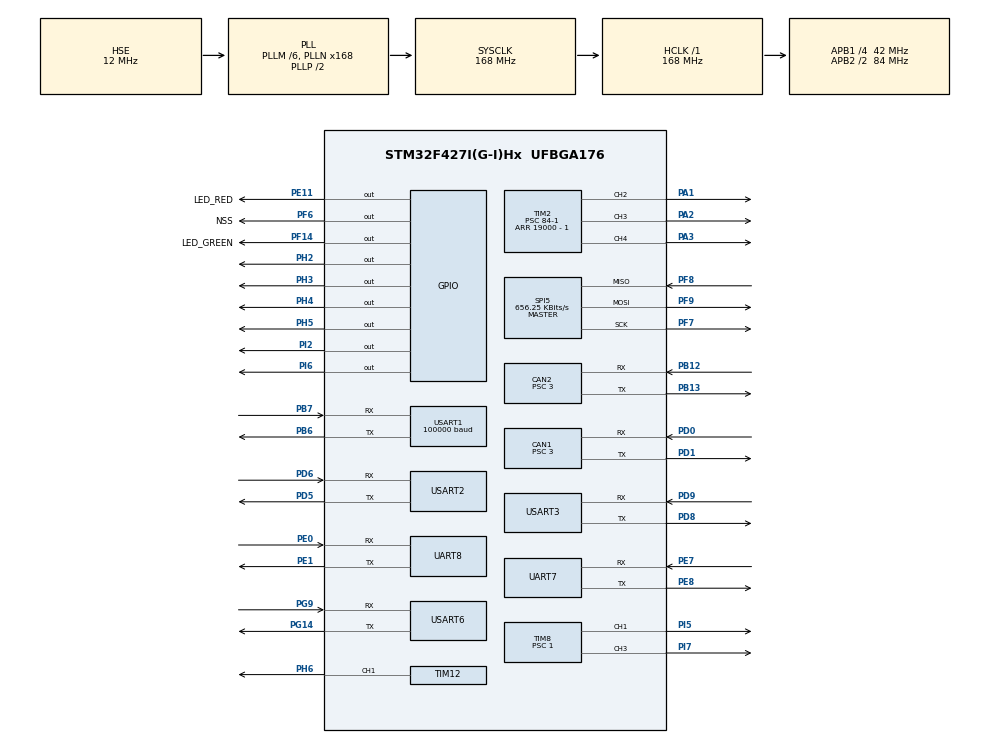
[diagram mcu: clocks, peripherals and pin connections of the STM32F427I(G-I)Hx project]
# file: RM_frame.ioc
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CAN1.BS1=CAN_BS1_9TQ
CAN1.BS2=CAN_BS2_4TQ
CAN1.CalculateTimeBit=1000
CAN1.CalculateTimeQuantum=71.42857142857143
CAN1.Prescaler=3
CAN2.BS1=CAN_BS1_9TQ
CAN2.BS2=CAN_BS2_4TQ
CAN2.CalculateTimeBit=1000
CAN2.CalculateTimeQuantum=71.42857142857143
CAN2.Prescaler=3
Dma.Request0=USART1_RX
Dma.USART1_RX.0.Direction=DMA_PERIPH_TO_MEMORY
Dma.USART1_RX.0.FIFOMode=DMA_FIFOMODE_DISABLE
Dma.USART1_RX.0.Instance=DMA2_Stream2
Dma.USART1_RX.0.MemDataAlignment=DMA_MDATAALIGN_BYTE
Dma.USART1_RX.0.MemInc=DMA_MINC_ENABLE
Dma.USART1_RX.0.Mode=DMA_NORMAL
Dma.USART1_RX.0.PeriphDataAlignment=DMA_PDATAALIGN_BYTE
Dma.USART1_RX.0.PeriphInc=DMA_PINC_DISABLE
Dma.USART1_RX.0.Priority=DMA_PRIORITY_LOW
IWDG.Prescaler=IWDG_PRESCALER_32
IWDG.Reload=300
Mcu.Family=STM32F4
Mcu.Name=STM32F427I(G-I)Hx
Mcu.Package=UFBGA176
NVIC.CAN1_RX0_IRQn=true\:0\:0\:true\:false\:true\:true\:true
NVIC.CAN1_TX_IRQn=true\:0\:0\:true\:false\:true\:true\:true
NVIC.CAN2_RX0_IRQn=true\:1\:0\:true\:false\:true\:true\:true
NVIC.CAN2_TX_IRQn=true\:2\:0\:true\:false\:true\:true\:true
NVIC.DMA2_Stream2_IRQn=true\:0\:0\:false\:false\:true\:false\:true
NVIC.PriorityGroup=NVIC_PRIORITYGROUP_4
NVIC.TIM1_UP_TIM10_IRQn=true\:4\:0\:true\:false\:true\:true\:true
NVIC.TIM6_DAC_IRQn=true\:3\:0\:true\:false\:true\:true\:true
NVIC.TIM7_IRQn=true\:0\:0\:true\:false\:true\:true\:true
NVIC.UART7_IRQn=true\:0\:0\:false\:false\:true\:true\:true
NVIC.UART8_IRQn=true\:0\:0\:false\:false\:true\:true\:true
NVIC.USART1_IRQn=true\:0\:0\:true\:false\:true\:true\:true
NVIC.USART2_IRQn=true\:1\:0\:true\:false\:true\:true\:true
NVIC.USART3_IRQn=true\:1\:0\:true\:false\:true\:true\:true
NVIC.USART6_IRQn=true\:1\:0\:true\:false\:true\:true\:true
PA1.Signal=S_TIM2_CH2
PA2.Signal=S_TIM2_CH3
PA3.Signal=S_TIM2_CH4
PB12.Mode=Slave
PB12.Signal=CAN2_RX
PB13.Mode=Slave
PB13.Signal=CAN2_TX
PB6.Mode=Asynchronous
PB6.Signal=USART1_TX
PB7.Mode=Asynchronous
PB7.Signal=USART1_RX
PD0.Mode=Master
PD0.Signal=CAN1_RX
PD1.Mode=Master
PD1.Signal=CAN1_TX
PD5.Mode=Asynchronous
PD5.Signal=USART2_TX
PD6.Mode=Asynchronous
PD6.Signal=USART2_RX
PD8.Mode=Asynchronous
PD8.Signal=USART3_TX
PD9.Mode=Asynchronous
PD9.Signal=USART3_RX
PE0.Mode=Asynchronous
PE0.Signal=UART8_RX
PE1.Mode=Asynchronous
PE1.Signal=UART8_TX
PE11.GPIO_Label=LED_RED
PE11.Signal=GPIO_Output
PE7.Mode=Asynchronous
PE7.Signal=UART7_RX
PE8.Mode=Asynchronous
PE8.Signal=UART7_TX
PF14.GPIO_Label=LED_GREEN
PF14.Signal=GPIO_Output
PF6.GPIO_Label=NSS
PF6.Signal=GPIO_Output
PF7.Mode=Full_Duplex_Master
PF7.Signal=SPI5_SCK
PF8.Mode=Full_Duplex_Master
PF8.Signal=SPI5_MISO
PF9.Mode=Full_Duplex_Master
PF9.Signal=SPI5_MOSI
PG14.Mode=Asynchronous
PG14.Signal=USART6_TX
PG9.Mode=Asynchronous
PG9.Signal=USART6_RX
PH0/OSC_IN.Mode=HSE-External-Oscillator
PH0/OSC_IN.Signal=RCC_OSC_IN
PH1/OSC_OUT.Mode=HSE-External-Oscillator
PH1/OSC_OUT.Signal=RCC_OSC_OUT
PH2.Signal=GPIO_Output
PH3.Signal=GPIO_Output
PH4.Signal=GPIO_Output
PH5.Signal=GPIO_Output
PH6.Signal=S_TIM12_CH1
PI2.Signal=GPIO_Output
PI5.Signal=S_TIM8_CH1
PI6.Signal=GPIO_Output
PI7.Signal=S_TIM8_CH3
ProjectManager.HeapSize=0x200
ProjectManager.StackSize=0x400
ProjectManager.TargetToolchain=MDK-ARM V5
RCC.48MHZClocksFreq_Value=84000000
RCC.AHBFreq_Value=168000000
RCC.APB1CLKDivider=RCC_HCLK_DIV4
RCC.APB1Freq_Value=42000000
RCC.APB1TimFreq_Value=84000000
RCC.APB2CLKDivider=RCC_HCLK_DIV2
RCC.APB2Freq_Value=84000000
RCC.APB2TimFreq_Value=168000000
RCC.CortexFreq_Value=168000000
RCC.HCLKFreq_Value=168000000
RCC.HSE_VALUE=12000000
RCC.HSI_VALUE=16000000
RCC.LSE_VALUE=32768
RCC.PLLM=6
RCC.PLLN=168
RCC.PLLSourceVirtual=RCC_PLLSOURCE_HSE
RCC.SYSCLKFreq_VALUE=168000000
RCC.SYSCLKSource=RCC_SYSCLKSOURCE_PLLCLK
RCC.VCOOutputFreq_Value=336000000
SH.S_TIM12_CH1.0=TIM12_CH1,PWM Generation1 CH1
SH.S_TIM2_CH2.0=TIM2_CH2,PWM Generation2 CH2
SH.S_TIM2_CH3.0=TIM2_CH3,PWM Generation3 CH3
SH.S_TIM2_CH4.0=TIM2_CH4,PWM Generation4 CH4
SH.S_TIM8_CH1.0=TIM8_CH1,PWM Generation1 CH1
SH.S_TIM8_CH3.0=TIM8_CH3,PWM Generation3 CH3
SPI5.BaudRatePrescaler=SPI_BAUDRATEPRESCALER_128
SPI5.CalculateBaudRate=656.25 KBits/s
SPI5.Direction=SPI_DIRECTION_2LINES
SPI5.Mode=SPI_MODE_MASTER
SPI5.VirtualType=VM_MASTER
TIM10.Period=10000
TIM10.Prescaler=168-1
TIM12.Channel-PWM\ Generation1\ CH1=TIM_CHANNEL_1
TIM12.Period=2500-1
TIM12.Prescaler=84-1
TIM12.Pulse-PWM\ Generation1\ CH1=1000
TIM2.Channel-PWM\ Generation2\ CH2=TIM_CHANNEL_2
TIM2.Channel-PWM\ Generation3\ CH3=TIM_CHANNEL_3
TIM2.Channel-PWM\ Generation4\ CH4=TIM_CHANNEL_4
TIM2.Period=19000 - 1
TIM2.Prescaler=84-1
TIM6.Period=1000
TIM6.Prescaler=84-1
TIM7.Period=1000
TIM7.Prescaler=84-1
TIM8.Channel-PWM\ Generation1\ CH1=TIM_CHANNEL_1
TIM8.Channel-PWM\ Generation3\ CH3=TIM_CHANNEL_3
TIM8.Period=5250
TIM8.Prescaler=1
UART7.VirtualMode=Asynchronous
UART8.VirtualMode=Asynchronous
USART1.BaudRate=100000
USART1.Mode=MODE_RX
USART1.Parity=PARITY_EVEN
USART1.VirtualMode=VM_ASYNC
USART1.WordLength=WORDLENGTH_9B
USART2.VirtualMode=VM_ASYNC
USART3.VirtualMode=VM_ASYNC
USART6.VirtualMode=VM_ASYNC
VP_IWDG_VS_IWDG.Mode=IWDG_Activate
VP_TIM10_VS_ClockSourceINT.Mode=Enable_Timer
VP_TIM12_VS_ClockSourceINT.Mode=Internal
VP_TIM2_VS_ClockSourceINT.Mode=Internal
VP_TIM6_VS_ClockSourceINT.Mode=Enable_Timer
VP_TIM7_VS_ClockSourceINT.Mode=Enable_Timer
board=RM_frame

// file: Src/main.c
/**
  ******************************************************************************
  * File Name          : main.c
  * Description        : Main program body
  ******************************************************************************
  ** This notice applies to any and all portions of this file
  * that are not between comment pairs USER CODE BEGIN and
  * USER CODE END. Other portions of this file, whether
  * inserted by the user or by software development tools
  * are owned by their respective copyright owners.
  *
  * COPYRIGHT(c) 2020 STMicroelectronics
  *
  * Redistribution and use in source and binary forms, with or without modification,
  * are permitted provided that the following conditions are met:
  *   1. Redistributions of source code must retain the above copyright notice,
  *      this list of conditions and the following disclaimer.
  *   2. Redistributions in binary form must reproduce the above copyright notice,
  *      this list of conditions and the following disclaimer in the documentation
  *      and/or other materials provided with the distribution.
  *   3. Neither the name of STMicroelectronics nor the names of its contributors
  *      may be used to endorse or promote products derived from this software
  *      without specific prior written permission.
  *
  * THIS SOFTWARE IS PROVIDED BY THE COPYRIGHT HOLDERS AND CONTRIBUTORS "AS IS"
  * AND ANY EXPRESS OR IMPLIED WARRANTIES, INCLUDING, BUT NOT LIMITED TO, THE
  * IMPLIED WARRANTIES OF MERCHANTABILITY AND FITNESS FOR A PARTICULAR PURPOSE ARE
  * DISCLAIMED. IN NO EVENT SHALL THE COPYRIGHT HOLDER OR CONTRIBUTORS BE LIABLE
  * FOR ANY DIRECT, INDIRECT, INCIDENTAL, SPECIAL, EXEMPLARY, OR CONSEQUENTIAL
  * DAMAGES (INCLUDING, BUT NOT LIMITED TO, PROCUREMENT OF SUBSTITUTE GOODS OR
  * SERVICES; LOSS OF USE, DATA, OR PROFITS; OR BUSINESS INTERRUPTION) HOWEVER
  * CAUSED AND ON ANY THEORY OF LIABILITY, WHETHER IN CONTRACT, STRICT LIABILITY,
  * OR TORT (INCLUDING NEGLIGENCE OR OTHERWISE) ARISING IN ANY WAY OUT OF THE USE
  * OF THIS SOFTWARE, EVEN IF ADVISED OF THE POSSIBILITY OF SUCH DAMAGE.
  *
  ******************************************************************************
  */

#include "main.h"
#include "stm32f4xx_hal.h"
#include "can.h"
#include "dma.h"
#include "iwdg.h"
#include "spi.h"
#include "tim.h"
#include "usart.h"
#include "gpio.h"

/* USER CODE BEGIN Includes */
#include "includes.h"
#include <stdlib.h>
/* USER CODE END Includes */

/* USER CODE BEGIN PV */
uint32_t ADC_Value[160];
/* Private variables ---------------------------------------------------------*/
UART_HandleTypeDef *uartlist[4] = {&huart3, &huart6, &huart7, &huart8};
uint8_t ch0 = (uint8_t)'0';
uint8_t ch1 = (uint8_t)'1';
uint8_t ch2 = (uint8_t)'2';
uint8_t rec;
int isFailed = 0, isWaiting = 0, hasReceived = 0, current, counter = 1250;
int randlist[4];

/* USER CODE END PV */

void SystemClock_Config(void);

/* USER CODE BEGIN PFP */
/* Private function prototypes -----------------------------------------------*/

/* USER CODE END PFP */

int main(void)
{

  /* MCU Configuration----------------------------------------------------------*/

  /* Reset of all peripherals, Initializes the Flash interface and the Systick. */
  HAL_Init();

  /* Configure the system clock */
  SystemClock_Config();

  /* USER CODE BEGIN SysInit */
	HAL_NVIC_DisableIRQ(USART2_IRQn);
	HAL_NVIC_DisableIRQ(USART3_IRQn);
	HAL_NVIC_DisableIRQ(USART6_IRQn);
	HAL_NVIC_DisableIRQ(DMA1_Stream1_IRQn);
	HAL_NVIC_DisableIRQ(DMA1_Stream5_IRQn);
	HAL_NVIC_DisableIRQ(DMA2_Stream1_IRQn);

	HAL_NVIC_DisableIRQ(CAN1_RX0_IRQn);
	HAL_NVIC_DisableIRQ(CAN2_RX0_IRQn);
	HAL_NVIC_DisableIRQ(USART1_IRQn);
	HAL_NVIC_DisableIRQ(DMA2_Stream2_IRQn);
	HAL_NVIC_DisableIRQ(TIM7_IRQn);
	HAL_NVIC_DisableIRQ(TIM6_DAC_IRQn);
	#ifdef DEBUG_MODE
		HAL_NVIC_DisableIRQ(TIM1_UP_TIM10_IRQn);
	#endif
  /* USER CODE END SysInit */

  /* Initialize all configured peripherals */
  MX_GPIO_Init();
  MX_DMA_Init();
  MX_CAN1_Init();
  MX_CAN2_Init();
  MX_SPI5_Init();
  MX_USART1_UART_Init();
  MX_TIM6_Init();
  MX_TIM12_Init();
  MX_USART2_UART_Init();
  MX_USART3_UART_Init();
  MX_USART6_UART_Init();
  MX_TIM7_Init();
  MX_TIM10_Init();
  MX_TIM2_Init();
  MX_IWDG_Init();
  MX_TIM8_Init();
  MX_UART7_Init();
  MX_UART8_Init();

  /* USER CODE BEGIN 2 */
	//各模块初始化
	InitRemoteControl();
	InitMPU6500();
	Motor_ID_Setting();
	for(int i=0;i<8;i++) {InitMotor(can1[i]);InitMotor(can2[i]);}
	//InitPWM();
	InitCanReception();
	HAL_GPIO_WritePin(GPIOH,GPIO_PIN_2,GPIO_PIN_SET);
	HAL_GPIO_WritePin(GPIOH,GPIO_PIN_3,GPIO_PIN_SET);
	HAL_GPIO_WritePin(GPIOH,GPIO_PIN_4,GPIO_PIN_SET);
	HAL_GPIO_WritePin(GPIOH,GPIO_PIN_5,GPIO_PIN_SET);

	#ifdef DEBUG_MODE
	ctrlUartInit();
	//时间中断
	HAL_TIM_Base_Start_IT(&htim10);
	#endif
	HAL_TIM_Base_Start_IT(&htim6);
	HAL_TIM_Base_Start_IT(&htim7);
	HAL_TIM_PWM_Start(&htim2, TIM_CHANNEL_3);
	HAL_TIM_PWM_Start(&htim2, TIM_CHANNEL_4);

	//ADC
	//HAL_ADC_Start_DMA(&hadc1,(uint32_t*)&ADC_Value,160);

	//其他中断
	HAL_NVIC_EnableIRQ(CAN1_RX0_IRQn);
	HAL_NVIC_EnableIRQ(CAN2_RX0_IRQn);
	HAL_NVIC_EnableIRQ(USART1_IRQn);
	HAL_NVIC_EnableIRQ(DMA2_Stream2_IRQn);
	HAL_NVIC_EnableIRQ(TIM6_DAC_IRQn);
	HAL_NVIC_EnableIRQ(TIM7_IRQn);
	#ifdef DEBUG_MODE
		HAL_NVIC_EnableIRQ(TIM1_UP_TIM10_IRQn);
	#endif

	for(current = 0;current < uart_num;current++) HAL_UART_Receive_IT(uartlist[current], &rec, sizeof(rec));
	for(current = 0;current < uart_num;current++) while(HAL_OK != HAL_UART_Transmit_IT(uartlist[current], &ch0 ,sizeof(ch0)));

  /* USER CODE END 2 */

  /* Infinite loop */
  while (1)
  {

  /* USER CODE BEGIN 3 */
//	listgen(randlist);
  	for(current = 0; (current < uart_num) && !isFailed; ++current)
  	{
  		isFailed = isWaiting = hasReceived = rec = 0;
	  	while(HAL_OK != HAL_UART_Transmit_IT(uartlist[current], &ch1, sizeof(ch1)));
		  isWaiting = 1;
/*		counter = 1250;
		  htim6.Instance->CNT = 0;*/

		  while(!isFailed && !hasReceived);
		  isWaiting = 0;

		  if(isFailed)
		  {
			  HAL_UART_Transmit_IT(uartlist[0], &ch0, sizeof(ch0));
			  HAL_UART_Transmit_IT(uartlist[1], &ch0, sizeof(ch0));
	 		  HAL_UART_Transmit_IT(uartlist[2], &ch0, sizeof(ch0));
			  HAL_UART_Transmit_IT(uartlist[3], &ch0, sizeof(ch0));
//				HAL_UART_Transmit_IT(uartlist[4], &ch0, sizeof(ch0));
			  break;
		  }
	  }

	  if(!isFailed)
	  {
		  HAL_UART_Transmit_IT(uartlist[0], &ch2, sizeof(ch2));
		  HAL_UART_Transmit_IT(uartlist[1], &ch2, sizeof(ch2));
		  HAL_UART_Transmit_IT(uartlist[2], &ch2, sizeof(ch2));
		  HAL_UART_Transmit_IT(uartlist[3], &ch2, sizeof(ch2));
//			HAL_UART_Transmit_IT(uartlist[4], &ch2, sizeof(ch2));
	  }

//  IMURefresh();
  }
  /* USER CODE END 3 */

}

/** System Clock Configuration
*/
void SystemClock_Config(void)
{

  RCC_OscInitTypeDef RCC_OscInitStruct;
  RCC_ClkInitTypeDef RCC_ClkInitStruct;

    /**Configure the main internal regulator output voltage
    */
  __HAL_RCC_PWR_CLK_ENABLE();

  __HAL_PWR_VOLTAGESCALING_CONFIG(PWR_REGULATOR_VOLTAGE_SCALE1);

    /**Initializes the CPU, AHB and APB busses clocks
    */
  RCC_OscInitStruct.OscillatorType = RCC_OSCILLATORTYPE_LSI|RCC_OSCILLATORTYPE_HSE;
  RCC_OscInitStruct.HSEState = RCC_HSE_ON;
  RCC_OscInitStruct.LSIState = RCC_LSI_ON;
  RCC_OscInitStruct.PLL.PLLState = RCC_PLL_ON;
  RCC_OscInitStruct.PLL.PLLSource = RCC_PLLSOURCE_HSE;
  RCC_OscInitStruct.PLL.PLLM = 6;
  RCC_OscInitStruct.PLL.PLLN = 168;
  RCC_OscInitStruct.PLL.PLLP = RCC_PLLP_DIV2;
  RCC_OscInitStruct.PLL.PLLQ = 4;
  if (HAL_RCC_OscConfig(&RCC_OscInitStruct) != HAL_OK)
  {
    _Error_Handler(__FILE__, __LINE__);
  }

    /**Initializes the CPU, AHB and APB busses clocks
    */
  RCC_ClkInitStruct.ClockType = RCC_CLOCKTYPE_HCLK|RCC_CLOCKTYPE_SYSCLK
                              |RCC_CLOCKTYPE_PCLK1|RCC_CLOCKTYPE_PCLK2;
  RCC_ClkInitStruct.SYSCLKSource = RCC_SYSCLKSOURCE_PLLCLK;
  RCC_ClkInitStruct.AHBCLKDivider = RCC_SYSCLK_DIV1;
  RCC_ClkInitStruct.APB1CLKDivider = RCC_HCLK_DIV4;
  RCC_ClkInitStruct.APB2CLKDivider = RCC_HCLK_DIV2;

  if (HAL_RCC_ClockConfig(&RCC_ClkInitStruct, FLASH_LATENCY_5) != HAL_OK)
  {
    _Error_Handler(__FILE__, __LINE__);
  }

    /**Configure the Systick interrupt time
    */
  HAL_SYSTICK_Config(HAL_RCC_GetHCLKFreq()/1000);

    /**Configure the Systick
    */
  HAL_SYSTICK_CLKSourceConfig(SYSTICK_CLKSOURCE_HCLK);

  /* SysTick_IRQn interrupt configuration */
  HAL_NVIC_SetPriority(SysTick_IRQn, 0, 0);
}

void _Error_Handler(char * file, int line)
{
  while(1)
  {
  }
}

/************************ (C) COPYRIGHT STMicroelectronics *****END OF FILE****/
